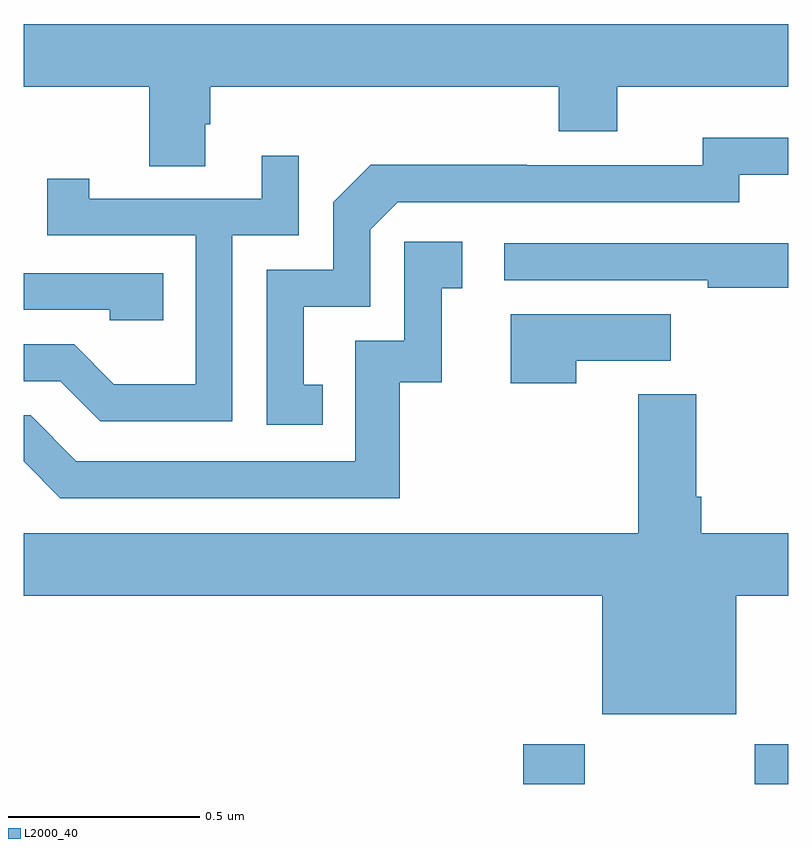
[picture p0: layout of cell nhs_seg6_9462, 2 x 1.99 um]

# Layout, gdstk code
import gdstk
lib = gdstk.Library(unit=1e-6, precision=1e-09)
def R(c, l, rs):  # rectangles x0, y0, x1, y1
    for r in rs: c.add(gdstk.rectangle(r[:2], r[2:], *l))
def P(c, l, *ps):  # polygons
    for p in ps: c.add(gdstk.Polygon(p, *l))
L2000_40 = (2000, 40)

nhs_seg6_9462 = lib.new_cell('nhs_seg6_9462')
R(nhs_seg6_9462, L2000_40, [(235.307,957.5,235.467,957.604), (235.912,957.5,236,957.604)])
P(nhs_seg6_9462, L2000_40, [(234.475,959.226),(234.488,959.226),(234.488,959.324),(235.4,959.324),(235.4,959.207),(235.552,959.207),(235.552,959.324),(236,959.324),(236,959.488),(234,959.488),(234,959.324),(234.328,959.324),(234.328,959.116),(234.475,959.116)],
  [(234.782,958.545),(234.733,958.545),(234.733,958.749),(234.906,958.749),(234.906,958.95),(234.978,959.022),(235.872,959.022),(235.872,959.094),(236,959.094),(236,959.191),(235.776,959.191),(235.776,959.118),(235.316,959.118),(235.316,959.12),(234.908,959.12),(234.81,959.022),(234.81,958.845),(234.636,958.845),(234.636,958.44),(234.782,958.44)],
  [(234.546,958.935),(234.72,958.935),(234.72,959.143),(234.623,959.143),(234.623,959.031),(234.172,959.031),(234.172,959.083),(234.061,959.083),(234.061,958.935),(234.45,958.935),(234.45,958.546),(234.236,958.546),(234.132,958.65),(234,958.65),(234,958.554),(234.095,958.554),(234.2,958.449),(234.546,958.449)],
  [(234.983,958.551),(235.094,958.551),(235.094,958.797),(235.147,958.797),(235.147,958.918),(234.996,958.918),(234.996,958.659),(234.867,958.659),(234.867,958.344),(234.138,958.344),(234.018,958.464),(234,958.464),(234,958.344),(234.096,958.248),(234.983,958.248)],
  [(236,958.914),(235.257,958.914),(235.257,958.818),(235.789,958.818),(235.789,958.798),(236,958.798)],
  [(234.365,958.836),(234,958.836),(234,958.74),(234.225,958.74),(234.225,958.713),(234.365,958.713)],
  [(235.445,958.607),(235.693,958.607),(235.693,958.729),(235.274,958.729),(235.274,958.548),(235.445,958.548)],
  [(235.864,957.992),(236,957.992),(236,958.156),(235.772,958.156),(235.772,958.252),(235.759,958.252),(235.759,958.519),(235.607,958.519),(235.607,958.156),(234,958.156),(234,957.992),(235.514,957.992),(235.514,957.683),(235.864,957.683)])

lib.write_gds('nhs_seg6_9462.gds')
